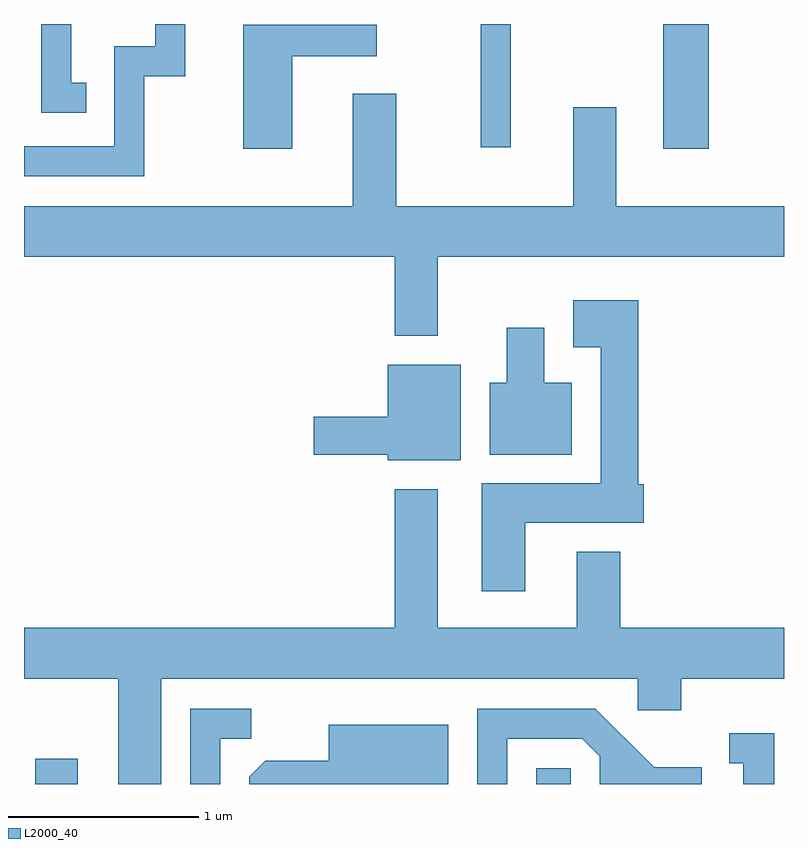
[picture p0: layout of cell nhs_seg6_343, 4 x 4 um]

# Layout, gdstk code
import gdstk
lib = gdstk.Library(unit=1e-6, precision=1e-09)
def R(c, l, rs):  # rectangles x0, y0, x1, y1
    for r in rs: c.add(gdstk.rectangle(r[:2], r[2:], *l))
def P(c, l, *ps):  # polygons
    for p in ps: c.add(gdstk.Polygon(p, *l))
L2000_40 = (2000, 40)

nhs_seg6_343 = lib.new_cell('nhs_seg6_343')
R(nhs_seg6_343, L2000_40, [(195.671,1536.162,195.894,1536.294), (198.306,1536.162,198.489,1536.244), (198.976,1539.506,199.214,1540.162), (198.016,1539.513,198.174,1540.162)])
P(nhs_seg6_343, L2000_40, [(195.938,1539.854),(195.859,1539.854),(195.859,1540.162),(195.701,1540.162),(195.701,1539.696),(195.938,1539.696)],
  [(196.244,1539.886),(196.459,1539.886),(196.459,1540.162),(196.301,1540.162),(196.301,1540.044),(196.086,1540.044),(196.086,1539.519),(195.611,1539.519),(195.611,1539.361),(196.244,1539.361)],
  [(197.024,1539.991),(197.468,1539.991),(197.468,1540.159),(196.766,1540.159),(196.766,1539.506),(197.024,1539.506)],
  [(197.789,1538.936),(199.611,1538.936),(199.611,1539.204),(198.729,1539.204),(198.729,1539.724),(198.501,1539.724),(198.501,1539.204),(197.569,1539.204),(197.569,1539.794),(197.341,1539.794),(197.341,1539.204),(195.611,1539.204),(195.611,1538.936),(197.561,1538.936),(197.561,1538.521),(197.789,1538.521)],
  [(198.249,1537.536),(198.874,1537.536),(198.874,1537.739),(198.844,1537.739),(198.844,1538.709),(198.501,1538.709),(198.501,1538.461),(198.646,1538.461),(198.646,1537.744),(198.021,1537.744),(198.021,1537.176),(198.249,1537.176)],
  [(198.494,1538.274),(198.349,1538.274),(198.349,1538.564),(198.151,1538.564),(198.151,1538.274),(198.061,1538.274),(198.061,1537.896),(198.494,1537.896)],
  [(197.909,1538.369),(197.526,1538.369),(197.526,1538.094),(197.136,1538.094),(197.136,1537.896),(197.526,1537.896),(197.526,1537.866),(197.909,1537.866)],
  [(196.334,1536.716),(198.841,1536.716),(198.841,1536.551),(199.069,1536.551),(199.069,1536.716),(199.611,1536.716),(199.611,1536.984),(198.749,1536.984),(198.749,1537.384),(198.521,1537.384),(198.521,1536.984),(197.789,1536.984),(197.789,1537.714),(197.561,1537.714),(197.561,1536.984),(195.611,1536.984),(195.611,1536.716),(196.106,1536.716),(196.106,1536.162),(196.334,1536.162)],
  [(198.154,1536.401),(198.549,1536.401),(198.641,1536.309),(198.641,1536.162),(199.179,1536.162),(199.179,1536.249),(198.927,1536.249),(198.617,1536.559),(197.996,1536.559),(197.996,1536.162),(198.154,1536.162)],
  [(196.644,1536.401),(196.808,1536.401),(196.808,1536.559),(196.486,1536.559),(196.486,1536.162),(196.644,1536.162)],
  [(197.844,1536.474),(197.216,1536.474),(197.216,1536.284),(196.882,1536.284),(196.796,1536.199),(196.796,1536.162),(197.844,1536.162)],
  [(199.559,1536.429),(199.323,1536.429),(199.323,1536.271),(199.396,1536.271),(199.396,1536.162),(199.559,1536.162)])

lib.write_gds('nhs_seg6_343.gds')
